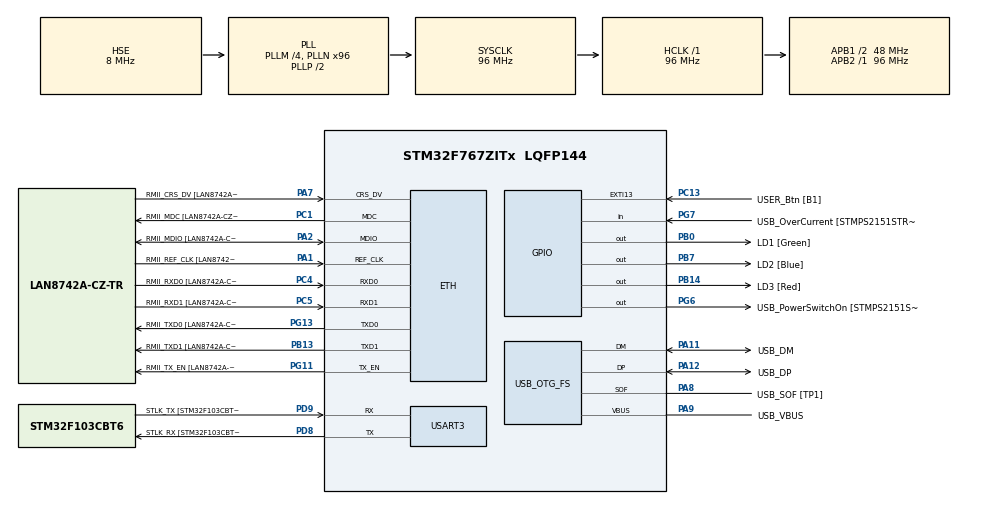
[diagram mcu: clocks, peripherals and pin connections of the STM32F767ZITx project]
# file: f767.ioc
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ETH.MediaInterface=HAL_ETH_RMII_MODE
ETH.PHY_Name=LAN8742A_PHY_ADDRESS
ETH.PHY_Value=0
ETH.PhyAddress=0
Mcu.Family=STM32F7
Mcu.Name=STM32F767ZITx
Mcu.Package=LQFP144
NVIC.PriorityGroup=NVIC_PRIORITYGROUP_4
PA1.GPIO_Label=RMII_REF_CLK [LAN8742A-CZ-TR_REFCLK0]
PA1.Mode=RMII
PA1.Signal=ETH_REF_CLK
PA10.GPIO_Label=USB_ID
PA10.Signal=USB_OTG_FS_ID
PA11.GPIO_Label=USB_DM
PA11.Mode=Device_Only
PA11.Signal=USB_OTG_FS_DM
PA12.GPIO_Label=USB_DP
PA12.Mode=Device_Only
PA12.Signal=USB_OTG_FS_DP
PA13.GPIO_Label=TMS
PA13.Mode=Serial_Wire
PA13.Signal=SYS_JTMS-SWDIO
PA14.GPIO_Label=TCK
PA14.Mode=Serial_Wire
PA14.Signal=SYS_JTCK-SWCLK
PA2.GPIO_Label=RMII_MDIO [LAN8742A-CZ-TR_MDIO]
PA2.Mode=RMII
PA2.Signal=ETH_MDIO
PA7.GPIO_Label=RMII_CRS_DV [LAN8742A-CZ-TR_CRS_DV]
PA7.Mode=RMII
PA7.Signal=ETH_CRS_DV
PA8.GPIO_Label=USB_SOF [TP1]
PA8.Mode=Activate_SOF_FS
PA8.Signal=USB_OTG_FS_SOF
PA9.GPIO_Label=USB_VBUS
PA9.Mode=Activate_VBUS
PA9.Signal=USB_OTG_FS_VBUS
PB0.GPIO_Label=LD1 [Green]
PB0.Signal=GPIO_Output
PB13.GPIO_Label=RMII_TXD1 [LAN8742A-CZ-TR_TXD1]
PB13.Mode=RMII
PB13.Signal=ETH_TXD1
PB14.GPIO_Label=LD3 [Red]
PB14.Signal=GPIO_Output
PB3.GPIO_Label=SWO
PB3.Signal=SYS_JTDO-SWO
PB7.GPIO_Label=LD2 [Blue]
PB7.Signal=GPIO_Output
PC1.GPIO_Label=RMII_MDC [LAN8742A-CZ-TR_MDC]
PC1.Mode=RMII
PC1.Signal=ETH_MDC
PC13.GPIO_Label=USER_Btn [B1]
PC13.Signal=GPXTI13
PC14/OSC32_IN.Mode=LSE-External-Oscillator
PC14/OSC32_IN.Signal=RCC_OSC32_IN
PC15/OSC32_OUT.Mode=LSE-External-Oscillator
PC15/OSC32_OUT.Signal=RCC_OSC32_OUT
PC4.GPIO_Label=RMII_RXD0 [LAN8742A-CZ-TR_RXD0]
PC4.Mode=RMII
PC4.Signal=ETH_RXD0
PC5.GPIO_Label=RMII_RXD1 [LAN8742A-CZ-TR_RXD1]
PC5.Mode=RMII
PC5.Signal=ETH_RXD1
PD8.GPIO_Label=STLK_RX [STM32F103CBT6_PA3]
PD8.Mode=Asynchronous
PD8.Signal=USART3_TX
PD9.GPIO_Label=STLK_TX [STM32F103CBT6_PA2]
PD9.Mode=Asynchronous
PD9.Signal=USART3_RX
PG11.GPIO_Label=RMII_TX_EN [LAN8742A-CZ-TR_TXEN]
PG11.Mode=RMII
PG11.Signal=ETH_TX_EN
PG13.GPIO_Label=RMII_TXD0 [LAN8742A-CZ-TR_TXD0]
PG13.Mode=RMII
PG13.Signal=ETH_TXD0
PG6.GPIO_Label=USB_PowerSwitchOn [STMPS2151STR_EN]
PG6.Signal=GPIO_Output
PG7.GPIO_Label=USB_OverCurrent [STMPS2151STR_FAULT]
PG7.Signal=GPIO_Input
PH0/OSC_IN.GPIO_Label=MCO [STM32F103CBT6_PA8]
PH0/OSC_IN.Mode=HSE-External-Clock-Source
PH0/OSC_IN.Signal=RCC_OSC_IN
PH1/OSC_OUT.Mode=HSE-External-Clock-Source
PH1/OSC_OUT.Signal=RCC_OSC_OUT
ProjectManager.HeapSize=0x200
ProjectManager.StackSize=0x400
ProjectManager.TargetToolchain=STM32CubeIDE
RCC.48MHZClocksFreq_Value=24000000
RCC.AHBFreq_Value=96000000
RCC.APB1CLKDivider=RCC_HCLK_DIV2
RCC.APB1Freq_Value=48000000
RCC.APB1TimFreq_Value=96000000
RCC.APB2Freq_Value=96000000
RCC.APB2TimFreq_Value=96000000
RCC.CortexFreq_Value=96000000
RCC.HCLKFreq_Value=96000000
RCC.HSE_VALUE=8000000
RCC.HSI_VALUE=16000000
RCC.PLLM=4
RCC.PLLMUL=RCC_PLL_MUL9
RCC.PLLN=96
RCC.PLLQ=4
RCC.PRESCALERUSB=RCC_USBCLKSOURCE_PLL_DIV1_5
RCC.SYSCLKFreq_VALUE=96000000
RCC.SYSCLKSource=RCC_SYSCLKSOURCE_PLLCLK
RCC.SYSCLKSourceVirtual=RCC_SYSCLKSOURCE_PLLCLK
RCC.USBFreq_Value=48000000
RCC.VCOOutputFreq_Value=192000000
USART3.VirtualMode-Asynchronous=VM_ASYNC
USB_OTG_FS.VirtualMode=Device_Only
board=NUCLEO-F767ZI

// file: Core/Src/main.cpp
/* USER CODE BEGIN Header */
/**
  ******************************************************************************
  * @file           : main.c
  * @brief          : Main program body
  ******************************************************************************
  * @attention
  *
  * Copyright (c) 2025 STMicroelectronics.
  * All rights reserved.
  *
  * This software is licensed under terms that can be found in the LICENSE file
  * in the root directory of this software component.
  * If no LICENSE file comes with this software, it is provided AS-IS.
  *
  ******************************************************************************
  */
/* USER CODE END Header */
#include "main.h"
#include "string.h"

/* USER CODE BEGIN Includes */
#include <xitren/math/matrix_alignment.hpp>
#include <xitren/simd/gemm_int8_simd.hpp>

#include <algorithm>
#include <array>
#include <chrono>
#include <cmath>
#include <vector>
#include <functional>
#include <iostream>
/* USER CODE END Includes */

/* USER CODE BEGIN PTD */

using namespace xitren::math;
using namespace std::literals;

using time_type = std::chrono::microseconds;
/* USER CODE END PTD */

/* USER CODE BEGIN PD */
struct measurement {
    std::size_t us;
    std::size_t cycles;
};

auto
measure(std::function<std::size_t(void)> callback)
{
    auto      t0     = HAL_GetTick();
    auto      cycles = callback();
    auto      t1     = HAL_GetTick();
    auto      fs     = t1 - t0;
    return measurement{fs, cycles};
}

auto
matrix_test(std::string name, measurement base, std::function<void(void)> callback)
{
    auto calc_time = measure([&]() -> std::size_t {
        std::size_t cnt{};
        auto        start_time{HAL_GetTick()};
        auto        last_time{HAL_GetTick()};
        while ((last_time - start_time) <= 1000) {
            for (std ::size_t i{}; i < 1; i++, cnt++) {
                callback();
            }
            last_time = HAL_GetTick();
        }
        return cnt;
    });
    if (base.us == 0) {
        std::cout << name << "\tTime:\t" << calc_time.us << "\tCycles:\t" << calc_time.cycles
                  << "\tx1" << std::endl;
    } else {
        double const in{static_cast<double>(base.cycles) / static_cast<double>(base.us)};
        double const out{static_cast<double>(calc_time.cycles) / static_cast<double>(calc_time.us)};
        std::cout << name << "\tTime:\t" << calc_time.us << "\tCycles:\t" << calc_time.cycles
                  << "\tx" << static_cast<int>(out / in) << "."
                  << ((static_cast<int>(out * 10 / in)) % 10) << std::endl;
    }
    return calc_time;
}

template <class Type, std::size_t Size, optimization Optim>
auto
check(std::string name, auto base)
{
	matrix_aligned<Type, Size, Size, Optim> Aal{};
	Aal.get_rand_matrix(0., 1.);
	matrix_aligned<Type, Size, Size, Optim> Bal{};
	Bal.get_rand_matrix(0., 1.);
	matrix_aligned<Type, Size, Size, Optim> Cal{};
	Cal.get_zeros_matrix();

    return matrix_test(name, base,
                       [&]() { matrix_aligned<Type, Size, Size, Optim>::mult(Aal, Bal, Cal); });
}

template <class Type, std::size_t Size>
void
test_sized_matrix()
{
    constexpr std::size_t size = Size;
    std::string           str  = "X ";
    if constexpr (std::is_same<Type, double>()) {
        str = "D  ";
    }
    if constexpr (std::is_same<Type, float>()) {
        str = "F  ";
    }
    if constexpr (std::is_same<Type, std::int8_t>()) {
        str = "I8 ";
    }
    auto sz = std::to_string(size);

    auto base = check<Type, Size, optimization::naive>(" "s + sz + "\t" + str + "Naive   ", measurement{0, 0});
    check<Type, Size, optimization::blocked>(" "s + sz + "\t" + str + "Blocked ", base);
    check<Type, Size, optimization::mve>(" "s + sz + "\t" + str +     "NVE     ", base);
}
/* USER CODE END PD */

/* USER CODE BEGIN PM */
extern "C" {
/* USER CODE END PM */

#if defined ( __ICCARM__ ) /*!< IAR Compiler */
#pragma location=0x2007c000
ETH_DMADescTypeDef  DMARxDscrTab[ETH_RX_DESC_CNT]; /* Ethernet Rx DMA Descriptors */
#pragma location=0x2007c0a0
ETH_DMADescTypeDef  DMATxDscrTab[ETH_TX_DESC_CNT]; /* Ethernet Tx DMA Descriptors */

#elif defined ( __CC_ARM )  /* MDK ARM Compiler */

__attribute__((at(0x2007c000))) ETH_DMADescTypeDef  DMARxDscrTab[ETH_RX_DESC_CNT]; /* Ethernet Rx DMA Descriptors */
__attribute__((at(0x2007c0a0))) ETH_DMADescTypeDef  DMATxDscrTab[ETH_TX_DESC_CNT]; /* Ethernet Tx DMA Descriptors */

#elif defined ( __GNUC__ ) /* GNU Compiler */

ETH_DMADescTypeDef DMARxDscrTab[ETH_RX_DESC_CNT] __attribute__((section(".RxDecripSection"))); /* Ethernet Rx DMA Descriptors */
ETH_DMADescTypeDef DMATxDscrTab[ETH_TX_DESC_CNT] __attribute__((section(".TxDecripSection")));   /* Ethernet Tx DMA Descriptors */
#endif

ETH_TxPacketConfig TxConfig;

ETH_HandleTypeDef heth;

UART_HandleTypeDef huart3;

PCD_HandleTypeDef hpcd_USB_OTG_FS;

void SystemClock_Config(void);
static void MX_GPIO_Init(void);
static void MX_ETH_Init(void);
static void MX_USART3_UART_Init(void);
static void MX_USB_OTG_FS_PCD_Init(void);

int main(void)
{

  /* MCU Configuration--------------------------------------------------------*/

  /* Reset of all peripherals, Initializes the Flash interface and the Systick. */
  HAL_Init();

  /* Configure the system clock */
  SystemClock_Config();

  /* Initialize all configured peripherals */
  MX_GPIO_Init();
  MX_ETH_Init();
  MX_USART3_UART_Init();
  MX_USB_OTG_FS_PCD_Init();
  /* USER CODE BEGIN 2 */

  test_sized_matrix<std::int8_t, 32>();
  test_sized_matrix<float, 32>();
  test_sized_matrix<double, 32>();
  test_sized_matrix<std::int8_t, 64>();
  test_sized_matrix<float, 64>();
  test_sized_matrix<double, 64>();
  test_sized_matrix<std::int8_t, 128>();
  test_sized_matrix<float, 128>();
  test_sized_matrix<double, 128>();
  test_sized_matrix<std::int8_t, 256>();
  test_sized_matrix<float, 256>();
  test_sized_matrix<double, 256>();
  test_sized_matrix<std::int8_t, 512>();
  test_sized_matrix<float, 512>();
  test_sized_matrix<double, 512>();
  test_sized_matrix<std::int8_t, 1024>();
  test_sized_matrix<float, 1024>();
  test_sized_matrix<double, 1024>();
  test_sized_matrix<std::int8_t, 2048>();
  test_sized_matrix<float, 2048>();
  test_sized_matrix<double, 2048>();
  /* USER CODE END 2 */

  /* Infinite loop */
  /* USER CODE BEGIN WHILE */
  while (1)
  {
	  HAL_Delay(1000);
	  HAL_GPIO_TogglePin(LD1_GPIO_Port, LD1_Pin);
	  HAL_UART_Transmit(&huart3, (const uint8_t*)"Send ", 5, 10000);
    /* USER CODE END WHILE */

  }
}

void SystemClock_Config(void)
{
  RCC_OscInitTypeDef RCC_OscInitStruct = {0};
  RCC_ClkInitTypeDef RCC_ClkInitStruct = {0};

  /** Configure LSE Drive Capability
  */
  HAL_PWR_EnableBkUpAccess();

  /** Configure the main internal regulator output voltage
  */
  __HAL_RCC_PWR_CLK_ENABLE();
  __HAL_PWR_VOLTAGESCALING_CONFIG(PWR_REGULATOR_VOLTAGE_SCALE3);

  /** Initializes the RCC Oscillators according to the specified parameters
  * in the RCC_OscInitTypeDef structure.
  */
  RCC_OscInitStruct.OscillatorType = RCC_OSCILLATORTYPE_HSE;
  RCC_OscInitStruct.HSEState = RCC_HSE_BYPASS;
  RCC_OscInitStruct.PLL.PLLState = RCC_PLL_ON;
  RCC_OscInitStruct.PLL.PLLSource = RCC_PLLSOURCE_HSE;
  RCC_OscInitStruct.PLL.PLLM = 4;
  RCC_OscInitStruct.PLL.PLLN = 96;
  RCC_OscInitStruct.PLL.PLLP = RCC_PLLP_DIV2;
  RCC_OscInitStruct.PLL.PLLQ = 4;
  RCC_OscInitStruct.PLL.PLLR = 2;
  if (HAL_RCC_OscConfig(&RCC_OscInitStruct) != HAL_OK)
  {
    Error_Handler();
  }

  /** Activate the Over-Drive mode
  */
  if (HAL_PWREx_EnableOverDrive() != HAL_OK)
  {
    Error_Handler();
  }

  /** Initializes the CPU, AHB and APB buses clocks
  */
  RCC_ClkInitStruct.ClockType = RCC_CLOCKTYPE_HCLK|RCC_CLOCKTYPE_SYSCLK
                              |RCC_CLOCKTYPE_PCLK1|RCC_CLOCKTYPE_PCLK2;
  RCC_ClkInitStruct.SYSCLKSource = RCC_SYSCLKSOURCE_PLLCLK;
  RCC_ClkInitStruct.AHBCLKDivider = RCC_SYSCLK_DIV1;
  RCC_ClkInitStruct.APB1CLKDivider = RCC_HCLK_DIV2;
  RCC_ClkInitStruct.APB2CLKDivider = RCC_HCLK_DIV1;

  if (HAL_RCC_ClockConfig(&RCC_ClkInitStruct, FLASH_LATENCY_3) != HAL_OK)
  {
    Error_Handler();
  }
}

static void MX_ETH_Init(void)
{

   static uint8_t MACAddr[6];

  heth.Instance = ETH;
  MACAddr[0] = 0x00;
  MACAddr[1] = 0x80;
  MACAddr[2] = 0xE1;
  MACAddr[3] = 0x00;
  MACAddr[4] = 0x00;
  MACAddr[5] = 0x00;
  heth.Init.MACAddr = &MACAddr[0];
  heth.Init.MediaInterface = HAL_ETH_RMII_MODE;
  heth.Init.TxDesc = DMATxDscrTab;
  heth.Init.RxDesc = DMARxDscrTab;
  heth.Init.RxBuffLen = 1524;

  if (HAL_ETH_Init(&heth) != HAL_OK)
  {
    Error_Handler();
  }

  memset(&TxConfig, 0 , sizeof(ETH_TxPacketConfig));
  TxConfig.Attributes = ETH_TX_PACKETS_FEATURES_CSUM | ETH_TX_PACKETS_FEATURES_CRCPAD;
  TxConfig.ChecksumCtrl = ETH_CHECKSUM_IPHDR_PAYLOAD_INSERT_PHDR_CALC;
  TxConfig.CRCPadCtrl = ETH_CRC_PAD_INSERT;

}

static void MX_USART3_UART_Init(void)
{

  huart3.Instance = USART3;
  huart3.Init.BaudRate = 115200;
  huart3.Init.WordLength = UART_WORDLENGTH_8B;
  huart3.Init.StopBits = UART_STOPBITS_1;
  huart3.Init.Parity = UART_PARITY_NONE;
  huart3.Init.Mode = UART_MODE_TX_RX;
  huart3.Init.HwFlowCtl = UART_HWCONTROL_NONE;
  huart3.Init.OverSampling = UART_OVERSAMPLING_16;
  huart3.Init.OneBitSampling = UART_ONE_BIT_SAMPLE_DISABLE;
  huart3.AdvancedInit.AdvFeatureInit = UART_ADVFEATURE_NO_INIT;
  if (HAL_UART_Init(&huart3) != HAL_OK)
  {
    Error_Handler();
  }

}

static void MX_USB_OTG_FS_PCD_Init(void)
{

  hpcd_USB_OTG_FS.Instance = USB_OTG_FS;
  hpcd_USB_OTG_FS.Init.dev_endpoints = 6;
  hpcd_USB_OTG_FS.Init.speed = PCD_SPEED_FULL;
  hpcd_USB_OTG_FS.Init.dma_enable = DISABLE;
  hpcd_USB_OTG_FS.Init.phy_itface = PCD_PHY_EMBEDDED;
  hpcd_USB_OTG_FS.Init.Sof_enable = ENABLE;
  hpcd_USB_OTG_FS.Init.low_power_enable = DISABLE;
  hpcd_USB_OTG_FS.Init.lpm_enable = DISABLE;
  hpcd_USB_OTG_FS.Init.vbus_sensing_enable = ENABLE;
  hpcd_USB_OTG_FS.Init.use_dedicated_ep1 = DISABLE;
  if (HAL_PCD_Init(&hpcd_USB_OTG_FS) != HAL_OK)
  {
    Error_Handler();
  }

}

static void MX_GPIO_Init(void)
{
  GPIO_InitTypeDef GPIO_InitStruct = {0};

  /* GPIO Ports Clock Enable */
  __HAL_RCC_GPIOC_CLK_ENABLE();
  __HAL_RCC_GPIOH_CLK_ENABLE();
  __HAL_RCC_GPIOA_CLK_ENABLE();
  __HAL_RCC_GPIOB_CLK_ENABLE();
  __HAL_RCC_GPIOD_CLK_ENABLE();
  __HAL_RCC_GPIOG_CLK_ENABLE();

  /*Configure GPIO pin Output Level */
  HAL_GPIO_WritePin(GPIOB, LD1_Pin|LD3_Pin|LD2_Pin, GPIO_PIN_RESET);

  /*Configure GPIO pin Output Level */
  HAL_GPIO_WritePin(USB_PowerSwitchOn_GPIO_Port, USB_PowerSwitchOn_Pin, GPIO_PIN_RESET);

  /*Configure GPIO pin : USER_Btn_Pin */
  GPIO_InitStruct.Pin = USER_Btn_Pin;
  GPIO_InitStruct.Mode = GPIO_MODE_IT_RISING;
  GPIO_InitStruct.Pull = GPIO_NOPULL;
  HAL_GPIO_Init(USER_Btn_GPIO_Port, &GPIO_InitStruct);

  /*Configure GPIO pins : LD1_Pin LD3_Pin LD2_Pin */
  GPIO_InitStruct.Pin = LD1_Pin|LD3_Pin|LD2_Pin;
  GPIO_InitStruct.Mode = GPIO_MODE_OUTPUT_PP;
  GPIO_InitStruct.Pull = GPIO_NOPULL;
  GPIO_InitStruct.Speed = GPIO_SPEED_FREQ_LOW;
  HAL_GPIO_Init(GPIOB, &GPIO_InitStruct);

  /*Configure GPIO pin : USB_PowerSwitchOn_Pin */
  GPIO_InitStruct.Pin = USB_PowerSwitchOn_Pin;
  GPIO_InitStruct.Mode = GPIO_MODE_OUTPUT_PP;
  GPIO_InitStruct.Pull = GPIO_NOPULL;
  GPIO_InitStruct.Speed = GPIO_SPEED_FREQ_LOW;
  HAL_GPIO_Init(USB_PowerSwitchOn_GPIO_Port, &GPIO_InitStruct);

  /*Configure GPIO pin : USB_OverCurrent_Pin */
  GPIO_InitStruct.Pin = USB_OverCurrent_Pin;
  GPIO_InitStruct.Mode = GPIO_MODE_INPUT;
  GPIO_InitStruct.Pull = GPIO_NOPULL;
  HAL_GPIO_Init(USB_OverCurrent_GPIO_Port, &GPIO_InitStruct);

}

void Error_Handler(void)
{
  __disable_irq();
  while (1)
  {
  }
}

}
